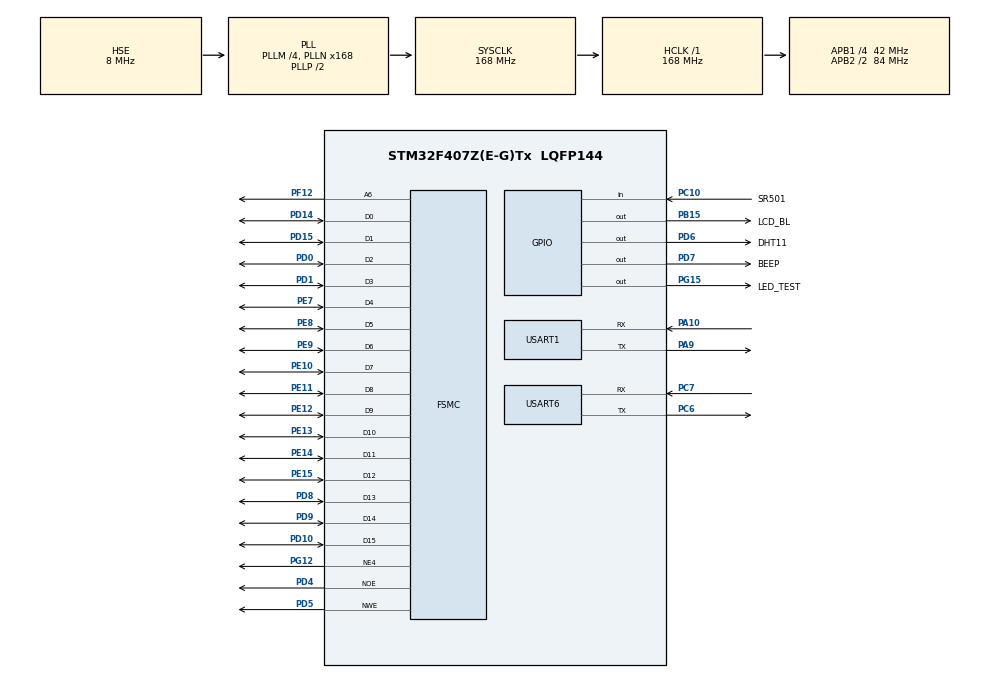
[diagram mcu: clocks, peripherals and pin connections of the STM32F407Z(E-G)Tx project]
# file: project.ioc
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FSMC.BusTurnAroundDuration1=0
FSMC.DataSetupTime1=60
FSMC.ExtendedAddressSetupTime1=8
FSMC.ExtendedBusTurnAroundDuration1=0
FSMC.ExtendedDataSetupTime1=8
FSMC.ExtendedMode1=FSMC_EXTENDED_MODE_ENABLE
Mcu.Family=STM32F4
Mcu.Name=STM32F407Z(E-G)Tx
Mcu.Package=LQFP144
NVIC.PriorityGroup=NVIC_PRIORITYGROUP_4
NVIC.USART1_IRQn=true\:1\:0\:true\:false\:true\:true\:true
NVIC.USART6_IRQn=true\:1\:0\:true\:false\:true\:true\:true
PA10.Mode=Asynchronous
PA10.Signal=USART1_RX
PA13.Mode=Serial_Wire
PA13.Signal=SYS_JTMS-SWDIO
PA14.Mode=Serial_Wire
PA14.Signal=SYS_JTCK-SWCLK
PA9.Mode=Asynchronous
PA9.Signal=USART1_TX
PB15.GPIO_Label=LCD_BL
PB15.Signal=GPIO_Output
PC10.GPIO_Label=SR501
PC10.Signal=GPIO_Input
PC14-OSC32_IN.Mode=LSE-External-Oscillator
PC14-OSC32_IN.Signal=RCC_OSC32_IN
PC15-OSC32_OUT.Mode=LSE-External-Oscillator
PC15-OSC32_OUT.Signal=RCC_OSC32_OUT
PC6.Mode=Asynchronous
PC6.Signal=USART6_TX
PC7.Mode=Asynchronous
PC7.Signal=USART6_RX
PD0.Signal=FSMC_D2_DA2
PD1.Signal=FSMC_D3_DA3
PD10.Signal=FSMC_D15_DA15
PD14.Signal=FSMC_D0_DA0
PD15.Signal=FSMC_D1_DA1
PD4.Signal=FSMC_NOE
PD5.Signal=FSMC_NWE
PD6.GPIO_Label=DHT11
PD6.Signal=GPIO_Output
PD7.GPIO_Label=BEEP
PD7.PinState=GPIO_PIN_SET
PD7.Signal=GPIO_Output
PD8.Signal=FSMC_D13_DA13
PD9.Signal=FSMC_D14_DA14
PE10.Signal=FSMC_D7_DA7
PE11.Signal=FSMC_D8_DA8
PE12.Signal=FSMC_D9_DA9
PE13.Signal=FSMC_D10_DA10
PE14.Signal=FSMC_D11_DA11
PE15.Signal=FSMC_D12_DA12
PE7.Signal=FSMC_D4_DA4
PE8.Signal=FSMC_D5_DA5
PE9.Signal=FSMC_D6_DA6
PF12.Signal=FSMC_A6
PG12.Mode=NorPsramChipSelect4_1
PG12.Signal=FSMC_NE4
PG15.GPIO_Label=LED_TEST
PG15.GPIO_ModeDefaultOutputPP=GPIO_MODE_OUTPUT_PP
PG15.GPIO_PuPd=GPIO_NOPULL
PG15.GPIO_Speed=GPIO_SPEED_FREQ_LOW
PG15.PinState=GPIO_PIN_RESET
PG15.Signal=GPIO_Output
PH0-OSC_IN.Mode=HSE-External-Oscillator
PH0-OSC_IN.Signal=RCC_OSC_IN
PH1-OSC_OUT.Mode=HSE-External-Oscillator
PH1-OSC_OUT.Signal=RCC_OSC_OUT
ProjectManager.HeapSize=0x200
ProjectManager.StackSize=0x400
ProjectManager.TargetToolchain=MDK-ARM V5
RCC.48MHZClocksFreq_Value=84000000
RCC.AHBFreq_Value=168000000
RCC.APB1CLKDivider=RCC_HCLK_DIV4
RCC.APB1Freq_Value=42000000
RCC.APB1TimFreq_Value=84000000
RCC.APB2CLKDivider=RCC_HCLK_DIV2
RCC.APB2Freq_Value=84000000
RCC.APB2TimFreq_Value=168000000
RCC.CortexFreq_Value=168000000
RCC.HCLKFreq_Value=168000000
RCC.HSE_VALUE=8000000
RCC.HSI_VALUE=16000000
RCC.PLLM=4
RCC.PLLN=168
RCC.PLLSourceVirtual=RCC_PLLSOURCE_HSE
RCC.SYSCLKFreq_VALUE=168000000
RCC.SYSCLKSource=RCC_SYSCLKSOURCE_PLLCLK
RCC.VCOOutputFreq_Value=336000000
SH.FSMC_A6.0=FSMC_A6,A6_1
SH.FSMC_D0_DA0.0=FSMC_D0,16b-d1
SH.FSMC_D10_DA10.0=FSMC_D10,16b-d1
SH.FSMC_D11_DA11.0=FSMC_D11,16b-d1
SH.FSMC_D12_DA12.0=FSMC_D12,16b-d1
SH.FSMC_D13_DA13.0=FSMC_D13,16b-d1
SH.FSMC_D14_DA14.0=FSMC_D14,16b-d1
SH.FSMC_D15_DA15.0=FSMC_D15,16b-d1
SH.FSMC_D1_DA1.0=FSMC_D1,16b-d1
SH.FSMC_D2_DA2.0=FSMC_D2,16b-d1
SH.FSMC_D3_DA3.0=FSMC_D3,16b-d1
SH.FSMC_D4_DA4.0=FSMC_D4,16b-d1
SH.FSMC_D5_DA5.0=FSMC_D5,16b-d1
SH.FSMC_D6_DA6.0=FSMC_D6,16b-d1
SH.FSMC_D7_DA7.0=FSMC_D7,16b-d1
SH.FSMC_D8_DA8.0=FSMC_D8,16b-d1
SH.FSMC_D9_DA9.0=FSMC_D9,16b-d1
SH.FSMC_NOE.0=FSMC_NOE,Lcd1
SH.FSMC_NWE.0=FSMC_NWE,Lcd1
TIM1.Prescaler=83
TIM3.Period=999
TIM3.Prescaler=83
TIM4.Prescaler=83
TIM5.Prescaler=83
USART1.VirtualMode=VM_ASYNC
USART6.VirtualMode=VM_ASYNC
VP_TIM1_VS_ClockSourceINT.Mode=Internal
VP_TIM3_VS_ClockSourceINT.Mode=Internal
VP_TIM4_VS_ClockSourceINT.Mode=Internal
VP_TIM5_VS_ClockSourceINT.Mode=Internal
board=custom

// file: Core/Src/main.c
/* USER CODE BEGIN Header */
/**
  ******************************************************************************
  * @file           : main.c
  * @brief          : Main program body
  ******************************************************************************
  * @attention
  *
  * <h2><center>&copy; Copyright (c) 2022 STMicroelectronics.
  * All rights reserved.</center></h2>
  *
  * This software component is licensed by ST under BSD 3-Clause license,
  * the "License"; You may not use this file except in compliance with the
  * License. You may obtain a copy of the License at:
  *                        opensource.org/licenses/BSD-3-Clause
  *
  ******************************************************************************
  */
/* USER CODE END Header */
#include "main.h"
#include "tim.h"
#include "usart.h"
#include "gpio.h"
#include "fsmc.h"

/* USER CODE BEGIN Includes */
#include "COMMON/bsp_common.h"	//STD基本宏包
#include "COMMON/bsp_device.h"	//外设模块化宏包
/* USER CODE END Includes */

/* USER CODE BEGIN PV */

//dht11变量
DHT11_Data_TypeDef DHT11_Data;

////TCP透传数据变量
//IPD_RX ipd_rx;

//上传数据的buf
char PUB_BUF[256];
const char *devSubTopic[] = {"subTOPIC"};
const char 	devPubTopic[] = 	"pubTOPIC";
uint8_t ESP8266_INIT_OK = 0;//esp8266初始化完成标志

/* USER CODE END PV */

void SystemClock_Config(void);

int main(void)
{
  /* USER CODE BEGIN 1 */
	//发送间隔变量
	unsigned short timeCount = 0;
	//平台返回数据变量
	unsigned char *dataPtr = NULL;
  /* USER CODE END 1 */

  /* MCU Configuration--------------------------------------------------------*/

  /* Reset of all peripherals, Initializes the Flash interface and the Systick. */
  HAL_Init();

  /* Configure the system clock */
  SystemClock_Config();

  /* Initialize all configured peripherals */
  MX_GPIO_Init();
  MX_FSMC_Init();
  MX_TIM3_Init();
  MX_TIM5_Init();
  MX_USART6_UART_Init();
  MX_USART1_UART_Init();
  MX_TIM4_Init();
  MX_TIM1_Init();
  /* USER CODE BEGIN 2 */

	//1.LCD初始化部分//横屏显示
	LCD_Init();				LCD_DisplayOn();				LCD_Display_Dir(1);					user_main_info("LCD初始化成功\t[OK]\r\n");

	//2.ESP01S连接WIFI等初始化操作
	ESP8266_Init();				user_main_info("ESP01S初始化成功\t[OK]\r\n");

	//3.接入OneNET//接入ONENET成功，蜂鸣器响起提示一下
	while(OneNet_DevLink()){HAL_Delay(500);}				Beep_On;				HAL_Delay(100);				Beep_Off;				user_main_info("连接ONENET成功\t[OK]\r\n");

	//订阅话题
	OneNet_Subscribe(devSubTopic, 1);

  /* USER CODE END 2 */

  /* Infinite loop */
  while (1)
  {

    /* USER CODE BEGIN 3 */
		if(++timeCount >= 100)// 2500ms / 25 = 100 发送间隔2500ms
		{
			sprintf(PUB_BUF,"{\"Hum\":%d.%d,\"Temp\":%d.%d}",DHT11_Data.humi_int,DHT11_Data.humi_deci,DHT11_Data.temp_int,DHT11_Data.temp_deci);
			OneNet_Publish(devPubTopic, PUB_BUF);

			OneNet_SendData();
			timeCount = 0;
			ESP8266_Clear();
		}
		//检测平台是否有响应
		dataPtr = ESP8266_GetIPD(3);
		if(dataPtr != NULL)
		OneNet_RevPro(dataPtr);
		HAL_Delay(10);
  }

  /* USER CODE END 3 */
}

void SystemClock_Config(void)
{
  RCC_OscInitTypeDef RCC_OscInitStruct = {0};
  RCC_ClkInitTypeDef RCC_ClkInitStruct = {0};

  /** Configure the main internal regulator output voltage
  */
  __HAL_RCC_PWR_CLK_ENABLE();
  __HAL_PWR_VOLTAGESCALING_CONFIG(PWR_REGULATOR_VOLTAGE_SCALE1);
  /** Initializes the RCC Oscillators according to the specified parameters
  * in the RCC_OscInitTypeDef structure.
  */
  RCC_OscInitStruct.OscillatorType = RCC_OSCILLATORTYPE_HSE;
  RCC_OscInitStruct.HSEState = RCC_HSE_ON;
  RCC_OscInitStruct.PLL.PLLState = RCC_PLL_ON;
  RCC_OscInitStruct.PLL.PLLSource = RCC_PLLSOURCE_HSE;
  RCC_OscInitStruct.PLL.PLLM = 4;
  RCC_OscInitStruct.PLL.PLLN = 168;
  RCC_OscInitStruct.PLL.PLLP = RCC_PLLP_DIV2;
  RCC_OscInitStruct.PLL.PLLQ = 4;
  if (HAL_RCC_OscConfig(&RCC_OscInitStruct) != HAL_OK)
  {
    Error_Handler();
  }
  /** Initializes the CPU, AHB and APB buses clocks
  */
  RCC_ClkInitStruct.ClockType = RCC_CLOCKTYPE_HCLK|RCC_CLOCKTYPE_SYSCLK
                              |RCC_CLOCKTYPE_PCLK1|RCC_CLOCKTYPE_PCLK2;
  RCC_ClkInitStruct.SYSCLKSource = RCC_SYSCLKSOURCE_PLLCLK;
  RCC_ClkInitStruct.AHBCLKDivider = RCC_SYSCLK_DIV1;
  RCC_ClkInitStruct.APB1CLKDivider = RCC_HCLK_DIV4;
  RCC_ClkInitStruct.APB2CLKDivider = RCC_HCLK_DIV2;

  if (HAL_RCC_ClockConfig(&RCC_ClkInitStruct, FLASH_LATENCY_5) != HAL_OK)
  {
    Error_Handler();
  }
}

/* USER CODE BEGIN 4 */
//这里就拿来放一些外设扫描吧

/* USER CODE END 4 */

void Error_Handler(void)
{
  __disable_irq();
  while (1)
  {
  }
}

/************************ (C) COPYRIGHT STMicroelectronics *****END OF FILE****/
